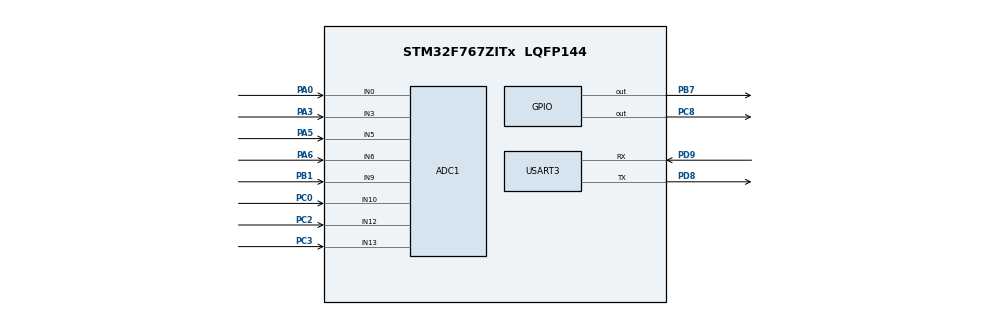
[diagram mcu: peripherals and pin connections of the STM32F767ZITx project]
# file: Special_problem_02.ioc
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ADC1.Channel-0\#ChannelRegularConversion=ADC_CHANNEL_0
ADC1.Channel-1\#ChannelRegularConversion=ADC_CHANNEL_3
ADC1.Channel-10\#ChannelRegularConversion=ADC_CHANNEL_12
ADC1.Channel-11\#ChannelRegularConversion=ADC_CHANNEL_13
ADC1.Channel-2\#ChannelRegularConversion=ADC_CHANNEL_5
ADC1.Channel-3\#ChannelRegularConversion=ADC_CHANNEL_6
ADC1.Channel-8\#ChannelRegularConversion=ADC_CHANNEL_9
ADC1.Channel-9\#ChannelRegularConversion=ADC_CHANNEL_10
ADC1.ClockPrescaler=ADC_CLOCK_SYNC_PCLK_DIV8
ADC1.ContinuousConvMode=ENABLE
ADC1.NbrOfConversion=8
ADC1.NbrOfConversionFlag=1
ADC1.Rank-0\#ChannelRegularConversion=1
ADC1.Rank-1\#ChannelRegularConversion=2
ADC1.Rank-10\#ChannelRegularConversion=7
ADC1.Rank-11\#ChannelRegularConversion=8
ADC1.Rank-2\#ChannelRegularConversion=3
ADC1.Rank-3\#ChannelRegularConversion=4
ADC1.Rank-8\#ChannelRegularConversion=5
ADC1.Rank-9\#ChannelRegularConversion=6
ADC1.SamplingTime-0\#ChannelRegularConversion=ADC_SAMPLETIME_3CYCLES
ADC1.SamplingTime-1\#ChannelRegularConversion=ADC_SAMPLETIME_3CYCLES
ADC1.SamplingTime-10\#ChannelRegularConversion=ADC_SAMPLETIME_3CYCLES
ADC1.SamplingTime-11\#ChannelRegularConversion=ADC_SAMPLETIME_3CYCLES
ADC1.SamplingTime-2\#ChannelRegularConversion=ADC_SAMPLETIME_3CYCLES
ADC1.SamplingTime-3\#ChannelRegularConversion=ADC_SAMPLETIME_3CYCLES
ADC1.SamplingTime-8\#ChannelRegularConversion=ADC_SAMPLETIME_3CYCLES
ADC1.SamplingTime-9\#ChannelRegularConversion=ADC_SAMPLETIME_3CYCLES
ADC1.ScanConvMode=ADC_SCAN_ENABLE
ADC1.master=1
Dma.ADC1.0.Direction=DMA_PERIPH_TO_MEMORY
Dma.ADC1.0.FIFOMode=DMA_FIFOMODE_DISABLE
Dma.ADC1.0.Instance=DMA2_Stream0
Dma.ADC1.0.MemDataAlignment=DMA_MDATAALIGN_HALFWORD
Dma.ADC1.0.MemInc=DMA_MINC_ENABLE
Dma.ADC1.0.Mode=DMA_CIRCULAR
Dma.ADC1.0.PeriphDataAlignment=DMA_PDATAALIGN_HALFWORD
Dma.ADC1.0.PeriphInc=DMA_PINC_DISABLE
Dma.ADC1.0.Priority=DMA_PRIORITY_LOW
Dma.Request0=ADC1
Mcu.Family=STM32F7
Mcu.Name=STM32F767ZITx
Mcu.Package=LQFP144
NVIC.ADC_IRQn=true\:0\:0\:true\:false\:true\:true\:true\:true
NVIC.DMA2_Stream0_IRQn=true\:1\:0\:true\:false\:true\:false\:true\:true
NVIC.PriorityGroup=NVIC_PRIORITYGROUP_3
PA0/WKUP.Signal=ADCx_IN0
PA3.Signal=ADCx_IN3
PA5.Signal=ADCx_IN5
PA6.Signal=ADCx_IN6
PB1.Signal=ADCx_IN9
PB7.Signal=GPIO_Output
PC0.Signal=ADCx_IN10
PC2.Signal=ADCx_IN12
PC3.Signal=ADCx_IN13
PC8.Signal=GPIO_Output
PD8.Mode=Asynchronous
PD8.Signal=USART3_TX
PD9.Mode=Asynchronous
PD9.Signal=USART3_RX
ProjectManager.HeapSize=0x200
ProjectManager.StackSize=0x400
ProjectManager.TargetToolchain=STM32CubeIDE
RCC.HSE_VALUE=25000000
RCC.HSI_VALUE=16000000
RCC.LSE_VALUE=32768
RCC.USBFreq_Value=96000000
RCC.VCOOutputFreq_Value=192000000
SH.ADCx_IN0.0=ADC1_IN0,IN0
SH.ADCx_IN10.0=ADC1_IN10,IN10
SH.ADCx_IN12.0=ADC1_IN12,IN12
SH.ADCx_IN13.0=ADC1_IN13,IN13
SH.ADCx_IN3.0=ADC1_IN3,IN3
SH.ADCx_IN5.0=ADC1_IN5,IN5
SH.ADCx_IN6.0=ADC1_IN6,IN6
SH.ADCx_IN9.0=ADC1_IN9,IN9
USART3.VirtualMode-Asynchronous=VM_ASYNC
board=custom

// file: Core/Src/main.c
/* USER CODE BEGIN Header */
/**
  ******************************************************************************
  * @file           : main.c
  * @brief          : Main program body
  ******************************************************************************
  * @attention
  *
  * Copyright (c) 2023 STMicroelectronics.
  * All rights reserved.
  *
  * This software is licensed under terms that can be found in the LICENSE file
  * in the root directory of this software component.
  * If no LICENSE file comes with this software, it is provided AS-IS.
  *
  ******************************************************************************
  */
/* USER CODE END Header */
#include "main.h"
#include "adc.h"
#include "dma.h"
#include "usart.h"
#include "gpio.h"

/* USER CODE BEGIN Includes */
#include"string.h"
/* USER CODE END Includes */

/* USER CODE BEGIN PV */
volatile uint16_t adcBuffer[8];
int adc_channel_count = sizeof(adcBuffer)/sizeof(adcBuffer[0]);
char adc_buffer[100];

/* USER CODE END PV */

void SystemClock_Config(void);

int main(void)
{

  /* MCU Configuration--------------------------------------------------------*/

  /* Reset of all peripherals, Initializes the Flash interface and the Systick. */
  HAL_Init();

  /* Configure the system clock */
  SystemClock_Config();

  /* Initialize all configured peripherals */
  MX_GPIO_Init();
  MX_DMA_Init();
  MX_ADC1_Init();
  MX_USART3_UART_Init();

  /* Infinite loop */
  /* USER CODE BEGIN WHILE */
  while (1)
  {
	  HAL_ADC_Start_DMA(&hadc1,(uint32_t *)adcBuffer, 8);
	  HAL_Delay(400);
    /* USER CODE END WHILE */

    /* USER CODE BEGIN 3 */
	  //sprintf(adc_buffer, "%d %d %d %d\r\n", adcBuffer[0], adcBuffer[1], adcBuffer[2], adcBuffer[3]);
	  //HAL_UART_Transmit(&huart3, (uint8_t*) &adc_buffer, strlen(adc_buffer), 1000);
  }
  /* USER CODE END 3 */
}

void SystemClock_Config(void)
{
  RCC_OscInitTypeDef RCC_OscInitStruct = {0};
  RCC_ClkInitTypeDef RCC_ClkInitStruct = {0};

  /** Configure the main internal regulator output voltage
  */
  __HAL_RCC_PWR_CLK_ENABLE();
  __HAL_PWR_VOLTAGESCALING_CONFIG(PWR_REGULATOR_VOLTAGE_SCALE3);

  /** Initializes the RCC Oscillators according to the specified parameters
  * in the RCC_OscInitTypeDef structure.
  */
  RCC_OscInitStruct.OscillatorType = RCC_OSCILLATORTYPE_HSI;
  RCC_OscInitStruct.HSIState = RCC_HSI_ON;
  RCC_OscInitStruct.HSICalibrationValue = RCC_HSICALIBRATION_DEFAULT;
  RCC_OscInitStruct.PLL.PLLState = RCC_PLL_NONE;
  if (HAL_RCC_OscConfig(&RCC_OscInitStruct) != HAL_OK)
  {
    Error_Handler();
  }

  /** Initializes the CPU, AHB and APB buses clocks
  */
  RCC_ClkInitStruct.ClockType = RCC_CLOCKTYPE_HCLK|RCC_CLOCKTYPE_SYSCLK
                              |RCC_CLOCKTYPE_PCLK1|RCC_CLOCKTYPE_PCLK2;
  RCC_ClkInitStruct.SYSCLKSource = RCC_SYSCLKSOURCE_HSI;
  RCC_ClkInitStruct.AHBCLKDivider = RCC_SYSCLK_DIV1;
  RCC_ClkInitStruct.APB1CLKDivider = RCC_HCLK_DIV1;
  RCC_ClkInitStruct.APB2CLKDivider = RCC_HCLK_DIV1;

  if (HAL_RCC_ClockConfig(&RCC_ClkInitStruct, FLASH_LATENCY_0) != HAL_OK)
  {
    Error_Handler();
  }
}

/* USER CODE BEGIN 4 */
void HAL_ADC_ConvCpltCallback(ADC_HandleTypeDef *hadc) {
	HAL_GPIO_WritePin(GPIOC, GPIO_PIN_8, RESET);
	char buf[100];
	sprintf(buf, "LD2 OFF\r\n");
	HAL_UART_Transmit(&huart3, (uint8_t*) &buf, strlen(buf), 1000);
	sprintf(adc_buffer, "%d %d %d %d\r\n", adcBuffer[4], adcBuffer[5], adcBuffer[6], adcBuffer[7]);

	HAL_UART_Transmit(&huart3, (uint8_t*) &adc_buffer, strlen(adc_buffer), 1000);
	HAL_ADC_Stop_DMA(&hadc1);

}
void HAL_ADC_ConvHalfCpltCallback(ADC_HandleTypeDef *hadc) {
	HAL_GPIO_WritePin(GPIOC, GPIO_PIN_8, SET);
	char buf[100];
	sprintf(buf, "LD2 ON\r\n");
	HAL_UART_Transmit(&huart3, (uint8_t*) &buf, strlen(buf), 1000);
	sprintf(adc_buffer, "%d %d %d %d\r\n", adcBuffer[0], adcBuffer[1], adcBuffer[2], adcBuffer[3]);
	HAL_UART_Transmit(&huart3, (uint8_t*) &adc_buffer, strlen(adc_buffer), 1000);

}

/* USER CODE END 4 */

void Error_Handler(void)
{
  __disable_irq();
  while (1)
  {
  }
}
